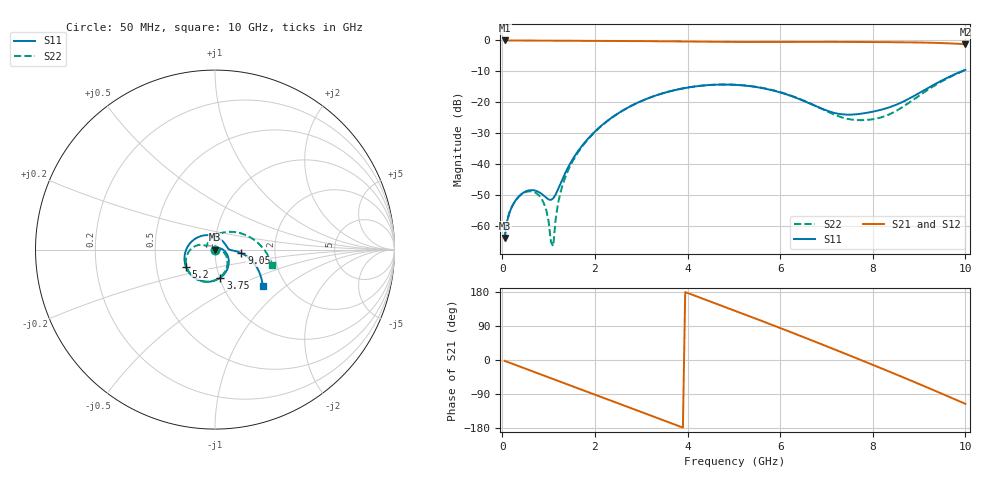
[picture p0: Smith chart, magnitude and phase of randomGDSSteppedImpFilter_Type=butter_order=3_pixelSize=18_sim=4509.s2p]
! freq	dB(S11)	phase(S11)	dB(S12)	phase(S12)
!  dB(S21)	phase(S21)	dB(S22)	phase(S22)
!S-par simulation data
#  GHz  S  DB  R 50
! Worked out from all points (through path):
!   200 points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, 50 MHz to 10 GHz, reference 50 ohm
!   highest |S21| = 0.00 dB at 50 MHz (marker M1); lowest = -1.2 dB at 10 GHz (marker M2)
!   group delay of S21, straight-line fit = 131 ps
!   lowest |S11| = -63.8 dB at 50 MHz (marker M3), VSWR 1.00, Z = 50 - j0.0646 ohm
!   |S11| at or under -10 dB: start of sweep to 9.913 GHz
!   |S22| runs from -66.5 to -9.6 dB; largest |S21 - S12| = 0
!   S11 on the Smith chart (normalised r, x): 50 MHz: 1.00, -0.00; 3.75 GHz: 1.01, -0.32; 5.2 GHz: 0.71, -0.14; 9.05 GHz: 1.34, -0.05; 10 GHz: 1.53, -0.70
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0.05  -63.79 -91.3  -0.00 -2.3  -0.00 -2.3  -63.79 -90.7
0.1  -58.59 -94.6  -0.01 -4.6  -0.01 -4.6  -58.58 -93.2
0.25  -52.52 -106.8  -0.01 -11.4  -0.01 -11.4  -52.55 -102.6
0.65  -48.34 -138.5  -0.03 -29.6  -0.03 -29.6  -48.79 -121.2
0.9  -50.19 -172.9  -0.04 -41.0  -0.04 -41.0  -52.69 -129.7
1.05  -51.52 142.4  -0.05 -47.8  -0.05 -47.8  -65.05 -107.0
1.1  -51.00 123.1  -0.05 -50.1  -0.05 -50.1  -66.45 -16.0
1.2  -48.21 90.2  -0.06 -54.6  -0.06 -54.6  -52.94 24.3
1.3  -44.76 68.7  -0.06 -59.2  -0.06 -59.2  -46.80 23.4
1.75  -33.49 24.7  -0.09 -79.7  -0.09 -79.7  -33.77 6.3
2.5  -23.55 -17.6  -0.15 -114.1  -0.15 -114.1  -23.60 -26.4
3.4  -17.36 -62.4  -0.27 -155.5  -0.27 -155.5  -17.36 -66.4
3.75  -15.95 -79.3  -0.33 -171.6  -0.33 -171.6  -15.95 -81.8
4.4  -14.48 -110.5  -0.43 158.6  -0.43 158.6  -14.46 -110.0
5.05  -14.36 -142.3  -0.49 128.8  -0.49 128.8  -14.31 -137.5
5.2  -14.53 -149.8  -0.49 121.9  -0.49 121.9  -14.47 -143.8
5.95  -16.58 169.7  -0.48 86.8  -0.48 86.8  -16.47 -173.5
6.7  -20.76 118.1  -0.46 51.0  -0.46 51.0  -20.70 163.5
7.55  -23.95 36.4  -0.48 9.5  -0.48 9.5  -25.58 155.8
8.35  -21.64 -0.6  -0.55 -30.2  -0.55 -30.2  -23.93 110.0
9.05  -16.59 -7.7  -0.67 -65.9  -0.67 -65.9  -17.35 46.9
10  -9.49 -37.6  -1.21 -115.6  -1.21 -115.6  -9.58 -15.3
